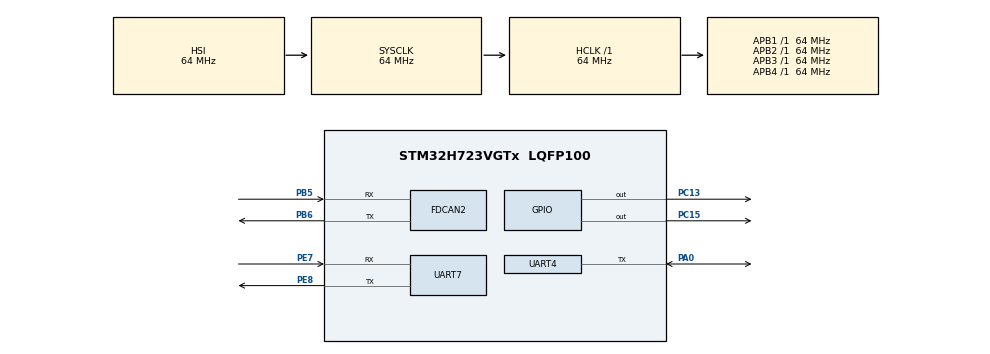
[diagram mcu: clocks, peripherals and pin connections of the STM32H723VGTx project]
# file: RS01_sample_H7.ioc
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CORTEX_M7.default_mode_Activation=1
FDCAN2.AutoRetransmission=ENABLE
FDCAN2.CalculateBaudRateNominal=1000000
FDCAN2.CalculateTimeBitNominal=1000
FDCAN2.CalculateTimeQuantumNominal=7.751937984496124
FDCAN2.DataTimeSeg1=6
FDCAN2.DataTimeSeg2=5
FDCAN2.ExtFiltersNbr=1
FDCAN2.NominalPrescaler=1
FDCAN2.NominalTimeSeg1=102
FDCAN2.NominalTimeSeg2=26
FDCAN2.RxFifo0ElmtsNbr=8
FDCAN2.StdFiltersNbr=1
FDCAN2.TxFifoQueueElmtsNbr=3
Mcu.Family=STM32H7
Mcu.Name=STM32H723VGTx
Mcu.Package=LQFP100
NVIC.FDCAN2_IT0_IRQn=true\:5\:0\:true\:false\:true\:true\:true\:true
NVIC.PriorityGroup=NVIC_PRIORITYGROUP_4
NVIC.TIM6_DAC_IRQn=true\:6\:0\:true\:false\:true\:true\:true\:true
NVIC.UART4_IRQn=true\:0\:0\:false\:false\:true\:true\:true\:true
NVIC.UART7_IRQn=true\:6\:0\:true\:false\:true\:true\:true\:true
PA0.GPIO_PuPd=GPIO_PULLUP
PA0.Mode=Half_duplex(single_wire_mode)
PA0.Signal=UART4_TX
PA13(JTMS/SWDIO).Signal=DEBUG_JTMS-SWDIO
PA14(JTCK/SWCLK).Signal=DEBUG_JTCK-SWCLK
PB5.Mode=FDCAN_Activate
PB5.Signal=FDCAN2_RX
PB6.Mode=FDCAN_Activate
PB6.Signal=FDCAN2_TX
PC13.GPIO_ModeDefaultOutputPP=GPIO_MODE_OUTPUT_PP
PC13.PinState=GPIO_PIN_SET
PC13.Signal=GPIO_Output
PC15-OSC32_OUT.GPIO_PuPd=GPIO_NOPULL
PC15-OSC32_OUT.Signal=GPIO_Output
PE7.Mode=Asynchronous
PE7.Signal=UART7_RX
PE8.Mode=Asynchronous
PE8.Signal=UART7_TX
ProjectManager.HeapSize=0x200
ProjectManager.StackSize=0x400
ProjectManager.TargetToolchain=MDK-ARM V5.32
RCC.ADCFreq_Value=129000000
RCC.APB1Freq_Value=64000000
RCC.APB2Freq_Value=64000000
RCC.APB3Freq_Value=64000000
RCC.APB4Freq_Value=64000000
RCC.CortexFreq_Value=64000000
RCC.HCLKFreq_Value=64000000
RCC.SYSCLKFreq_VALUE=64000000
RCC.USBFreq_Value=129000000
TIM6.AutoReloadPreload=TIM_AUTORELOAD_PRELOAD_DISABLE
TIM6.Period=99
TIM6.Prescaler=6399
VP_MEMORYMAP_VS_MEMORYMAP.Mode=CurAppReg
VP_TIM6_VS_ClockSourceINT.Mode=Enable_Timer
board=custom

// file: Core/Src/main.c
/* USER CODE BEGIN Header */
/**
  ******************************************************************************
  * @file           : main.c
  * @brief          : Main program body
  ******************************************************************************
  * @attention
  *
  * Copyright (c) 2026 STMicroelectronics.
  * All rights reserved.
  *
  * This software is licensed under terms that can be found in the LICENSE file
  * in the root directory of this software component.
  * If no LICENSE file comes with this software, it is provided AS-IS.
  *
  ******************************************************************************
  */
/* USER CODE END Header */
#include "main.h"
#include "fdcan.h"
#include "tim.h"
#include "usart.h"
#include "gpio.h"

/* USER CODE BEGIN Includes */
#include "../../RS/Robstride.h"
#include "RS01.h"
#include "MINIF.h"
#include "interrupt.h"
#include "app_task_config.h"
#include "combined.h"
#include "basket.h"
#include "lift.h"

/* USER CODE END Includes */

/* USER CODE BEGIN PV */
uint8_t Position_control=0;
volatile uint8_t servo_zero_request = 0;
uint8_t servoRxbuffer[32];
/* USER CODE END PV */

void SystemClock_Config(void);
static void MPU_Config(void);

int main(void)
{

  /* MPU Configuration--------------------------------------------------------*/
  MPU_Config();

  /* MCU Configuration--------------------------------------------------------*/

  /* Reset of all peripherals, Initializes the Flash interface and the Systick. */
  HAL_Init();

  /* Configure the system clock */
  SystemClock_Config();

  /* Initialize all configured peripherals */
  MX_GPIO_Init();
  MX_FDCAN2_Init();
  MX_UART7_Init();
  MX_TIM6_Init();
  MX_UART4_Init();
  /* USER CODE BEGIN 2 */

  /* PC15为板载5V输出使能，高电平开启UART接口的受控5V电源。 */
  HAL_GPIO_WritePin(GPIOC, GPIO_PIN_15, GPIO_PIN_SET);

  MINIF_Init();
  Servo_Init();
  HAL_Delay(3000U);
  #if APP_TASK_MODE == APP_TASK_BASKET
  (void)Basket_Init();
  #elif APP_TASK_MODE == APP_TASK_COMBINED
  (void)Combined_Init();
  #else
  RS01_Init();
  (void)Lift_Init();
  #endif
  // Servo_set_id(0,4);
  // HAL_Delay(100);
  // Servo_SendCommand("#255PID!");

  // Servo_set_mod(1,1);
  // HAL_Delay(100);
  // Servo_SendCommand("#004PCSM!");
  // HAL_Delay(100);

  /* USER CODE END 2 */

  /* Infinite loop */
  while (1)
  {
    /* USER CODE BEGIN 3 */
    #if APP_TASK_MODE == APP_TASK_BASKET
    Basket_Task();
    #elif APP_TASK_MODE == APP_TASK_COMBINED
    Combined_Task();
    #else
    Lift_Task();
    #endif
    HAL_Delay(1U);
  }
  /* USER CODE END 3 */
}

void SystemClock_Config(void)
{
  RCC_OscInitTypeDef RCC_OscInitStruct = {0};
  RCC_ClkInitTypeDef RCC_ClkInitStruct = {0};

  /** Supply configuration update enable
  */
  HAL_PWREx_ConfigSupply(PWR_LDO_SUPPLY);

  /** Configure the main internal regulator output voltage
  */
  __HAL_PWR_VOLTAGESCALING_CONFIG(PWR_REGULATOR_VOLTAGE_SCALE3);

  while(!__HAL_PWR_GET_FLAG(PWR_FLAG_VOSRDY)) {}

  /** Initializes the RCC Oscillators according to the specified parameters
  * in the RCC_OscInitTypeDef structure.
  */
  RCC_OscInitStruct.OscillatorType = RCC_OSCILLATORTYPE_HSI;
  RCC_OscInitStruct.HSIState = RCC_HSI_DIV1;
  RCC_OscInitStruct.HSICalibrationValue = 64;
  RCC_OscInitStruct.PLL.PLLState = RCC_PLL_ON;
  RCC_OscInitStruct.PLL.PLLSource = RCC_PLLSOURCE_HSI;
  RCC_OscInitStruct.PLL.PLLM = 32;
  RCC_OscInitStruct.PLL.PLLN = 129;
  RCC_OscInitStruct.PLL.PLLP = 2;
  RCC_OscInitStruct.PLL.PLLQ = 2;
  RCC_OscInitStruct.PLL.PLLR = 2;
  RCC_OscInitStruct.PLL.PLLRGE = RCC_PLL1VCIRANGE_1;
  RCC_OscInitStruct.PLL.PLLVCOSEL = RCC_PLL1VCOWIDE;
  RCC_OscInitStruct.PLL.PLLFRACN = 0;
  if (HAL_RCC_OscConfig(&RCC_OscInitStruct) != HAL_OK)
  {
    Error_Handler();
  }

  /** Initializes the CPU, AHB and APB buses clocks
  */
  RCC_ClkInitStruct.ClockType = RCC_CLOCKTYPE_HCLK|RCC_CLOCKTYPE_SYSCLK
                              |RCC_CLOCKTYPE_PCLK1|RCC_CLOCKTYPE_PCLK2
                              |RCC_CLOCKTYPE_D3PCLK1|RCC_CLOCKTYPE_D1PCLK1;
  RCC_ClkInitStruct.SYSCLKSource = RCC_SYSCLKSOURCE_HSI;
  RCC_ClkInitStruct.SYSCLKDivider = RCC_SYSCLK_DIV1;
  RCC_ClkInitStruct.AHBCLKDivider = RCC_HCLK_DIV1;
  RCC_ClkInitStruct.APB3CLKDivider = RCC_APB3_DIV1;
  RCC_ClkInitStruct.APB1CLKDivider = RCC_APB1_DIV1;
  RCC_ClkInitStruct.APB2CLKDivider = RCC_APB2_DIV1;
  RCC_ClkInitStruct.APB4CLKDivider = RCC_APB4_DIV1;

  if (HAL_RCC_ClockConfig(&RCC_ClkInitStruct, FLASH_LATENCY_1) != HAL_OK)
  {
    Error_Handler();
  }
}

/* USER CODE BEGIN 4 */

/* TIM6：当前 APB1 不分频，定时器时钟等于 PCLK1。 */

void HAL_TIM_PeriodElapsedCallback(TIM_HandleTypeDef *htim)
{
    if (htim->Instance == TIM6)
    {
        #if APP_TASK_MODE == APP_TASK_BASKET
        Basket_ControlTick();
        #elif APP_TASK_MODE == APP_TASK_COMBINED
        Combined_ControlTick();
        #endif
    }
}

/* USER CODE END 4 */

 /* MPU Configuration */

void MPU_Config(void)
{
  MPU_Region_InitTypeDef MPU_InitStruct = {0};

  /* Disables the MPU */
  HAL_MPU_Disable();

  /** Initializes and configures the Region and the memory to be protected
  */
  MPU_InitStruct.Enable = MPU_REGION_ENABLE;
  MPU_InitStruct.Number = MPU_REGION_NUMBER0;
  MPU_InitStruct.BaseAddress = 0x0;
  MPU_InitStruct.Size = MPU_REGION_SIZE_4GB;
  MPU_InitStruct.SubRegionDisable = 0x87;
  MPU_InitStruct.TypeExtField = MPU_TEX_LEVEL0;
  MPU_InitStruct.AccessPermission = MPU_REGION_NO_ACCESS;
  MPU_InitStruct.DisableExec = MPU_INSTRUCTION_ACCESS_DISABLE;
  MPU_InitStruct.IsShareable = MPU_ACCESS_SHAREABLE;
  MPU_InitStruct.IsCacheable = MPU_ACCESS_NOT_CACHEABLE;
  MPU_InitStruct.IsBufferable = MPU_ACCESS_NOT_BUFFERABLE;

  HAL_MPU_ConfigRegion(&MPU_InitStruct);
  /* Enables the MPU */
  HAL_MPU_Enable(MPU_PRIVILEGED_DEFAULT);

}

void Error_Handler(void)
{
  __disable_irq();
  while (1)
  {
  }
}
